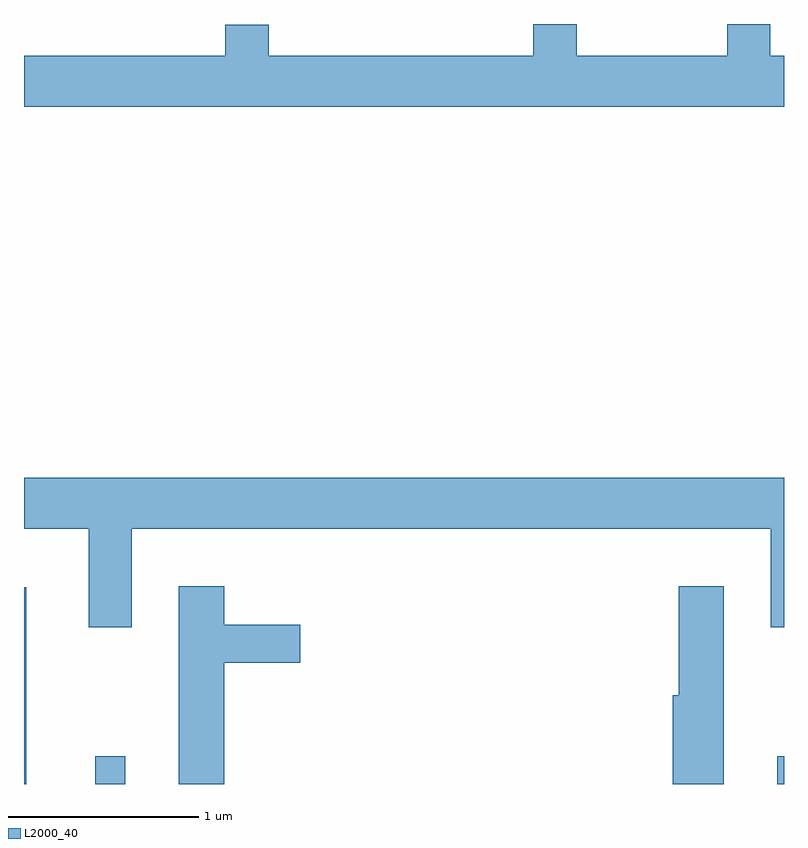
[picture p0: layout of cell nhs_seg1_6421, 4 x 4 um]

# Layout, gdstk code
import gdstk
lib = gdstk.Library(unit=1e-6, precision=1e-09)
def R(c, l, rs):  # rectangles x0, y0, x1, y1
    for r in rs: c.add(gdstk.rectangle(r[:2], r[2:], *l))
def P(c, l, *ps):  # polygons
    for p in ps: c.add(gdstk.Polygon(p, *l))
L2000_40 = (2000, 40)

nhs_seg1_6421 = lib.new_cell('nhs_seg1_6421')
R(nhs_seg1_6421, L2000_40, [(377.611,973.712,377.624,974.748), (377.986,973.712,378.144,973.858), (381.576,973.712,381.611,973.858)])
P(nhs_seg1_6421, L2000_40, [(381.611,977.544),(381.539,977.544),(381.539,977.712),(381.311,977.712),(381.311,977.544),(380.519,977.544),(380.519,977.712),(380.291,977.712),(380.291,977.544),(378.899,977.544),(378.899,977.709),(378.671,977.709),(378.671,977.544),(377.611,977.544),(377.611,977.276),(381.611,977.276)],
  [(378.179,975.056),(381.541,975.056),(381.541,974.536),(381.611,974.536),(381.611,975.324),(377.611,975.324),(377.611,975.056),(377.951,975.056),(377.951,974.536),(378.179,974.536)],
  [(378.664,974.351),(379.064,974.351),(379.064,974.549),(378.664,974.549),(378.664,974.754),(378.426,974.754),(378.426,973.712),(378.664,973.712)],
  [(381.294,974.754),(381.056,974.754),(381.056,974.179),(381.026,974.179),(381.026,973.712),(381.294,973.712)])

lib.write_gds('nhs_seg1_6421.gds')
